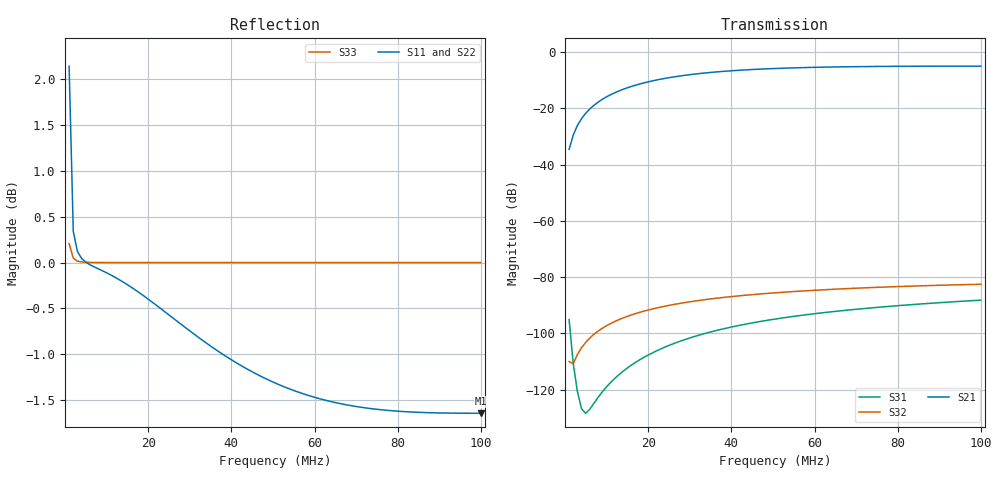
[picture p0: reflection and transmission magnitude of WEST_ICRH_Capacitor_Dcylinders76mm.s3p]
! Touchstone file exported from HFSS 2018.2.0
!  File:  E:/Julien/ICRH/WEST Antenna/Complete Numerical Antenna Model/WEST_ICRH_Capacitor.aedt
!  Generated:  2:57:18  janv. 09, 2019
!  Design:  WEST_ICRH_Voltage_Probes_depth_m5mm_optimetrics_silver_Part2
!  Project:  WEST_ICRH_Capacitor
!  Setup:  Setup1
!  Solution:  Sweep
! Variables:
!  D_cylinders = 76mm
!  D_cylinders_step = 110.908mm
!  d_half_wave = 2.53333333333333mm
!  d_mesh = 7mm
!  deemb1 = 150mm
!  deemb2 = 150mm
!  deemb3 = 100mm
!  depth = -5mm
!  diameter_bellows_fixed_center_1 = 76mm
!  diameter_bellows_fixed_center_2 = 72mm
!  diameter_bellows_fixed_left_1 = 76mm
!  diameter_bellows_fixed_left_2 = 71mm
!  diameter_big_wave = 74.925mm
!  diameter_cylinder_1 = 140mm
!  diameter_cylinder_2 = 110mm
!  diameter_cylinder_3 = 80mm
!  diameter_cylinder_4 = 50mm
!  diameter_cylinder_5 = 19.985mm
!  diameter_cylinders_fixed = 143mm
!  diameter_small_wave = 51mm
!  diametre_coax_external = 216mm
!  diametre_probe_cavity = 13mm
!  diametre_probe_external = 7mm
!  diametre_probe_head = 7mm
!  diametre_probe_internal = 3mm
!  length_bellows_fixed_center_1 = 4.1mm
!  length_bellows_fixed_center_2 = 6.042mm
!  length_bellows_fixed_left_1 = 4.1mm
!  length_bellows_fixed_left_2 = 13mm
!  length_cylinders = 45.5mm
!  length_cylinders_fixed = 7mm
!  length_probe = 114mm
!  length_probe_cavity = 23mm
!  length_probe_head = 9.5mm
!  parois_cavity_probe = 1mm
!  parois_probe = 1mm
!  thickness_cylinder_1 = 1.5mm
!  thickness_cylinder_2 = 1.5mm
!  thickness_cylinder_3 = 1.5mm
!  thickness_cylinder_4 = 1.5mm
!  top_probe = 14mm
!  y0_bellows1 = 223.3mm
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# GHZ S DB R 50.000000
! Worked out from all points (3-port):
!   100 points, 1 MHz to 100 MHz, reference 50 ohm
!   strongest paths, dB at 1 MHz, 26 MHz, 51 MHz, 76 MHz, 100 MHz:
!     S21: -34.6, -8.9, -5.8, -5.1, -5.0
!     S32: -110.0, -89.7, -85.5, -83.6, -82.5
!     S31: -95.1, -103.7, -94.8, -90.6, -88.2
!   lowest |S11| = -1.6 dB at 100 MHz (marker M1), VSWR 10.59, Z = 6.6 - j31.3 ohm
!   |S11| at or under -10 dB: nowhere
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0.001  2.14 -2.1  -34.60 86.8  -95.09 95.1
       -34.60 86.8  0.02 -1.9  -110.01 137.7
       -95.09 95.1  -110.01 137.7  0.21 2.1
0.002  0.34 -3.8  -29.47 86.1  -110.81 98.0
       -29.47 86.1  -0.00 -3.7  -110.75 95.2
       -110.81 98.0  -110.75 95.2  0.05 0.3
0.003  0.12 -5.7  -26.08 84.3  -120.71 103.0
       -26.08 84.3  -0.01 -5.6  -107.48 88.9
       -120.71 103.0  -107.48 88.9  0.02 0.0
0.005  0.00 -9.4  -21.74 80.6  -128.39 143.0
       -21.74 80.6  -0.03 -9.3  -103.14 85.5
       -128.39 143.0  -103.14 85.5  0.00 -0.2
0.009  -0.09 -16.8  -16.79 73.2  -120.72 161.7
       -16.79 73.2  -0.09 -16.6  -98.15 81.5
       -120.72 161.7  -98.15 81.5  0.00 -0.5
0.014  -0.21 -25.8  -13.23 64.3  -113.42 154.0
       -13.23 64.3  -0.21 -25.4  -94.49 77.1
       -113.42 154.0  -94.49 77.1  0.00 -0.8
0.03  -0.75 -51.3  -8.04 39.1  -101.61 128.7
      -8.04 39.1  -0.75 -50.4  -88.76 65.1
      -101.61 128.7  -88.76 65.1  -0.00 -1.6
0.051  -1.32 -76.9  -5.82 13.8  -94.79 103.3
       -5.82 13.8  -1.33 -75.4  -85.51 54.2
       -94.79 103.3  -85.51 54.2  -0.00 -2.7
0.073  -1.59 -96.7  -5.15 -5.6  -91.01 83.6
       -5.15 -5.6  -1.59 -94.6  -83.74 46.2
       -91.01 83.6  -83.74 46.2  -0.00 -3.9
0.1  -1.65 -115.3  -5.02 -23.7  -88.17 65.3
     -5.02 -23.7  -1.65 -112.1  -82.53 38.8
     -88.17 65.3  -82.53 38.8  0.00 -5.4
